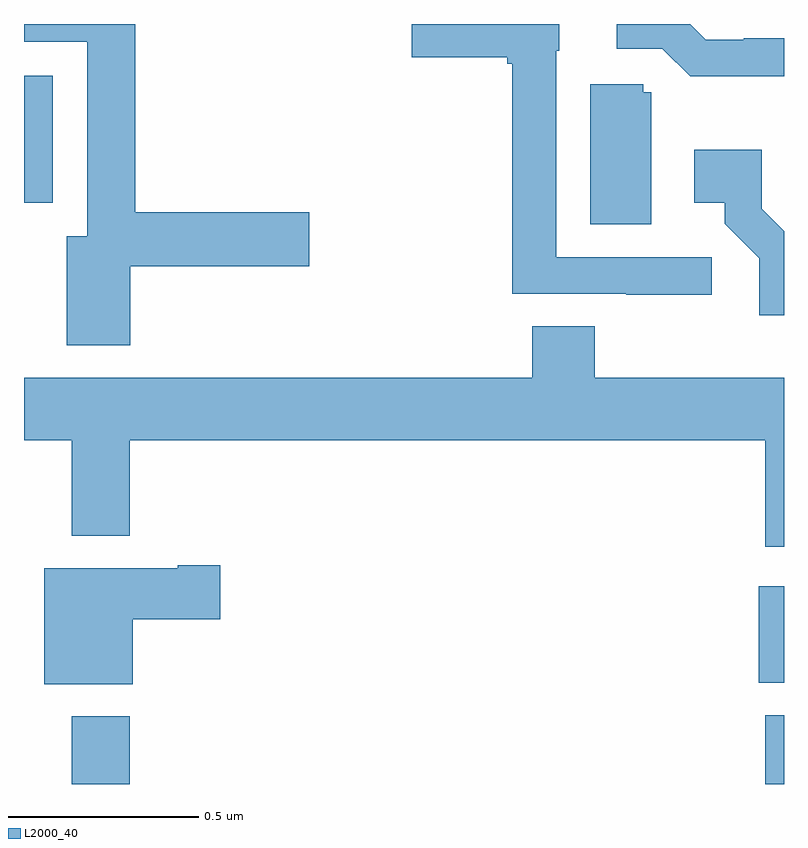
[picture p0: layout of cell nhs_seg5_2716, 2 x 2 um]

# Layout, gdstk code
import gdstk
lib = gdstk.Library(unit=1e-6, precision=1e-09)
def R(c, l, rs):  # rectangles x0, y0, x1, y1
    for r in rs: c.add(gdstk.rectangle(r[:2], r[2:], *l))
def P(c, l, *ps):  # polygons
    for p in ps: c.add(gdstk.Polygon(p, *l))
L2000_40 = (2000, 40)

nhs_seg5_2716 = lib.new_cell('nhs_seg5_2716')
R(nhs_seg5_2716, L2000_40, [(147.125,911.799,147.278,911.977), (148.95,911.799,149,911.98), (148.934,912.065,149,912.319), (147,913.328,147.076,913.663)])
P(nhs_seg5_2716, L2000_40, [(148.81,913.185),(148.401,913.185),(148.401,913.728),(148.408,913.728),(148.408,913.799),(148.02,913.799),(148.02,913.712),(148.272,913.712),(148.272,913.694),(148.285,913.694),(148.285,913.089),(148.585,913.089),(148.585,913.087),(148.81,913.087)],
  [(147.28,913.162),(147.751,913.162),(147.751,913.304),(147.293,913.304),(147.293,913.799),(147,913.799),(147,913.752),(147.167,913.752),(147.167,913.24),(147.113,913.24),(147.113,912.954),(147.28,912.954)],
  [(148.852,913.662),(149,913.662),(149,913.761),(148.894,913.761),(148.894,913.758),(148.794,913.758),(148.753,913.799),(148.56,913.799),(148.56,913.734),(148.68,913.734),(148.753,913.661),(148.852,913.661)],
  [(148.651,913.62),(148.629,913.62),(148.629,913.641),(148.49,913.641),(148.49,913.272),(148.651,913.272)],
  [(149,913.254),(148.941,913.313),(148.941,913.468),(148.764,913.468),(148.764,913.328),(148.844,913.328),(148.844,913.273),(148.935,913.183),(148.935,913.032),(149,913.032)],
  [(149,912.868),(148.502,912.868),(148.502,913.004),(148.337,913.004),(148.337,912.868),(147,912.868),(147,912.704),(147.125,912.704),(147.125,912.452),(147.278,912.452),(147.278,912.704),(148.95,912.704),(148.95,912.423),(149,912.423)],
  [(147.286,912.233),(147.517,912.233),(147.517,912.375),(147.404,912.375),(147.404,912.367),(147.053,912.367),(147.053,912.062),(147.286,912.062)])

lib.write_gds('nhs_seg5_2716.gds')
